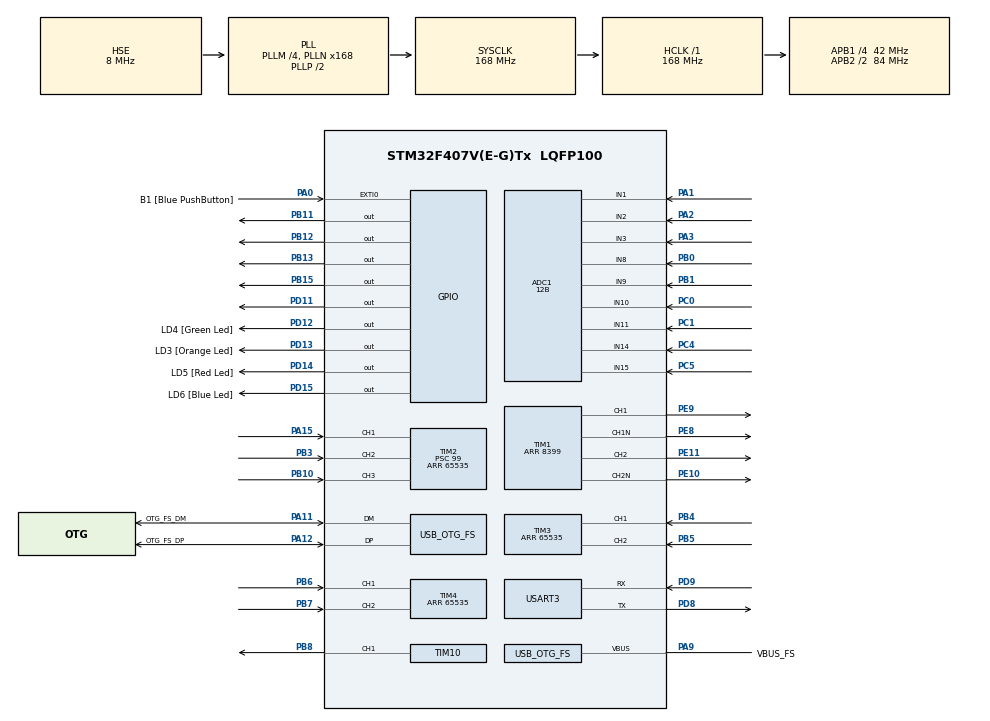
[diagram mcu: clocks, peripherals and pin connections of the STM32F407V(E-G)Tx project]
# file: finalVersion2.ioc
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ADC1.Channel-0\#ChannelRegularConversion=ADC_CHANNEL_1
ADC1.Channel-1\#ChannelRegularConversion=ADC_CHANNEL_2
ADC1.Channel-2\#ChannelRegularConversion=ADC_CHANNEL_3
ADC1.Channel-3\#ChannelRegularConversion=ADC_CHANNEL_15
ADC1.Channel-4\#ChannelRegularConversion=ADC_CHANNEL_10
ADC1.Channel-5\#ChannelRegularConversion=ADC_CHANNEL_14
ADC1.Channel-6\#ChannelRegularConversion=ADC_CHANNEL_8
ADC1.Channel-7\#ChannelRegularConversion=ADC_CHANNEL_9
ADC1.Channel-8\#ChannelRegularConversion=ADC_CHANNEL_11
ADC1.ContinuousConvMode=DISABLE
ADC1.DMAContinuousRequests=ENABLE
ADC1.DiscontinuousConvMode=DISABLE
ADC1.EOCSelection=ADC_EOC_SEQ_CONV
ADC1.InjNumberOfConversion=0
ADC1.NbrOfConversion=9
ADC1.NbrOfConversionFlag=1
ADC1.Rank-0\#ChannelRegularConversion=1
ADC1.Rank-1\#ChannelRegularConversion=2
ADC1.Rank-2\#ChannelRegularConversion=3
ADC1.Rank-3\#ChannelRegularConversion=4
ADC1.Rank-4\#ChannelRegularConversion=5
ADC1.Rank-5\#ChannelRegularConversion=6
ADC1.Rank-6\#ChannelRegularConversion=7
ADC1.Rank-7\#ChannelRegularConversion=8
ADC1.Rank-8\#ChannelRegularConversion=9
ADC1.Resolution=ADC_RESOLUTION_12B
ADC1.SamplingTime-0\#ChannelRegularConversion=ADC_SAMPLETIME_15CYCLES
ADC1.SamplingTime-1\#ChannelRegularConversion=ADC_SAMPLETIME_15CYCLES
ADC1.SamplingTime-2\#ChannelRegularConversion=ADC_SAMPLETIME_15CYCLES
ADC1.SamplingTime-3\#ChannelRegularConversion=ADC_SAMPLETIME_15CYCLES
ADC1.SamplingTime-4\#ChannelRegularConversion=ADC_SAMPLETIME_15CYCLES
ADC1.SamplingTime-5\#ChannelRegularConversion=ADC_SAMPLETIME_15CYCLES
ADC1.SamplingTime-6\#ChannelRegularConversion=ADC_SAMPLETIME_15CYCLES
ADC1.SamplingTime-7\#ChannelRegularConversion=ADC_SAMPLETIME_15CYCLES
ADC1.SamplingTime-8\#ChannelRegularConversion=ADC_SAMPLETIME_15CYCLES
ADC1.ScanConvMode=ENABLE
ADC1.master=1
Dma.ADC1.0.Direction=DMA_PERIPH_TO_MEMORY
Dma.ADC1.0.FIFOMode=DMA_FIFOMODE_DISABLE
Dma.ADC1.0.Instance=DMA2_Stream0
Dma.ADC1.0.MemDataAlignment=DMA_MDATAALIGN_WORD
Dma.ADC1.0.MemInc=DMA_MINC_ENABLE
Dma.ADC1.0.Mode=DMA_CIRCULAR
Dma.ADC1.0.PeriphDataAlignment=DMA_PDATAALIGN_WORD
Dma.ADC1.0.PeriphInc=DMA_PINC_DISABLE
Dma.ADC1.0.Priority=DMA_PRIORITY_LOW
Dma.Request0=ADC1
Mcu.Family=STM32F4
Mcu.Name=STM32F407V(E-G)Tx
Mcu.Package=LQFP100
NVIC.ADC_IRQn=true\:0\:0\:false\:false\:true\:true\:true
NVIC.DMA2_Stream0_IRQn=true\:0\:0\:false\:false\:true\:false\:true
NVIC.EXTI0_IRQn=true\:0\:0\:false\:false\:true\:true\:true
NVIC.OTG_FS_IRQn=true\:0\:0\:false\:false\:true\:false\:true
NVIC.PriorityGroup=NVIC_PRIORITYGROUP_0
NVIC.TIM1_CC_IRQn=true\:0\:0\:false\:false\:true\:true\:true
NVIC.TIM2_IRQn=true\:0\:0\:false\:false\:true\:true\:true
NVIC.TIM7_IRQn=true\:0\:0\:false\:false\:true\:true\:true
NVIC.USART3_IRQn=true\:0\:0\:false\:false\:true\:true\:true
PA0-WKUP.GPIO_Label=B1 [Blue PushButton]
PA0-WKUP.Signal=GPXTI0
PA1.Signal=ADCx_IN1
PA11.GPIO_Label=OTG_FS_DM
PA11.GPIO_Mode=GPIO_MODE_AF_PP
PA11.GPIO_PuPd=GPIO_NOPULL
PA11.GPIO_Speed=GPIO_SPEED_FREQ_VERY_HIGH
PA11.Mode=Device_Only
PA11.Signal=USB_OTG_FS_DM
PA12.GPIO_Label=OTG_FS_DP
PA12.GPIO_Mode=GPIO_MODE_AF_PP
PA12.GPIO_PuPd=GPIO_NOPULL
PA12.GPIO_Speed=GPIO_SPEED_FREQ_VERY_HIGH
PA12.Mode=Device_Only
PA12.Signal=USB_OTG_FS_DP
PA15.Signal=S_TIM2_CH1_ETR
PA2.Signal=ADCx_IN2
PA3.Signal=ADCx_IN3
PA9.GPIO_Label=VBUS_FS
PA9.GPIO_Mode=GPIO_MODE_INPUT
PA9.GPIO_PuPd=GPIO_NOPULL
PA9.Mode=Activate_VBUS
PA9.Signal=USB_OTG_FS_VBUS
PB0.Signal=ADCx_IN8
PB1.Signal=ADCx_IN9
PB10.Signal=S_TIM2_CH3
PB11.Signal=GPIO_Output
PB12.Signal=GPIO_Output
PB13.Signal=GPIO_Output
PB15.Signal=GPIO_Output
PB3.Signal=S_TIM2_CH2
PB4.Signal=S_TIM3_CH1
PB5.Signal=S_TIM3_CH2
PB6.Signal=S_TIM4_CH1
PB7.Signal=S_TIM4_CH2
PB8.GPIO_ModeDefaultPP=GPIO_MODE_AF_PP
PB8.GPIO_PuPd=GPIO_NOPULL
PB8.GPIO_Speed=GPIO_SPEED_FREQ_LOW
PB8.Signal=S_TIM10_CH1
PC0.Signal=ADCx_IN10
PC1.Signal=ADCx_IN11
PC4.Signal=ADCx_IN14
PC5.Signal=ADCx_IN15
PD11.Signal=GPIO_Output
PD12.GPIO_Label=LD4 [Green Led]
PD12.GPIO_PuPd=GPIO_NOPULL
PD12.GPIO_Speed=GPIO_SPEED_FREQ_LOW
PD12.Signal=GPIO_Output
PD13.GPIO_Label=LD3 [Orange Led]
PD13.GPIO_PuPd=GPIO_NOPULL
PD13.GPIO_Speed=GPIO_SPEED_FREQ_LOW
PD13.Signal=GPIO_Output
PD14.GPIO_Label=LD5 [Red Led]
PD14.GPIO_PuPd=GPIO_NOPULL
PD14.GPIO_Speed=GPIO_SPEED_FREQ_LOW
PD14.Signal=GPIO_Output
PD15.GPIO_Label=LD6 [Blue Led]
PD15.GPIO_PuPd=GPIO_NOPULL
PD15.GPIO_Speed=GPIO_SPEED_FREQ_LOW
PD15.Signal=GPIO_Output
PD8.Mode=Asynchronous
PD8.Signal=USART3_TX
PD9.Mode=Asynchronous
PD9.Signal=USART3_RX
PE10.Mode=PWM Generation2 CH2 CH2N
PE10.Signal=TIM1_CH2N
PE11.Signal=S_TIM1_CH2
PE8.Mode=PWM Generation1 CH1 CH1N
PE8.Signal=TIM1_CH1N
PE9.Signal=S_TIM1_CH1
PH0-OSC_IN.GPIO_Label=PH0-OSC_IN
PH0-OSC_IN.Mode=HSE-External-Oscillator
PH0-OSC_IN.Signal=RCC_OSC_IN
PH1-OSC_OUT.GPIO_Label=PH1-OSC_OUT
PH1-OSC_OUT.Mode=HSE-External-Oscillator
PH1-OSC_OUT.Signal=RCC_OSC_OUT
ProjectManager.HeapSize=0x200
ProjectManager.StackSize=0x400
ProjectManager.TargetToolchain=SW4STM32
RCC.48MHZClocksFreq_Value=48000000
RCC.AHBFreq_Value=168000000
RCC.APB1CLKDivider=RCC_HCLK_DIV4
RCC.APB1Freq_Value=42000000
RCC.APB1TimFreq_Value=84000000
RCC.APB2CLKDivider=RCC_HCLK_DIV2
RCC.APB2Freq_Value=84000000
RCC.APB2TimFreq_Value=168000000
RCC.CortexFreq_Value=168000000
RCC.HCLKFreq_Value=168000000
RCC.HSE_VALUE=8000000
RCC.HSI_VALUE=16000000
RCC.LSE_VALUE=32768
RCC.PLLM=4
RCC.PLLN=168
RCC.PLLQ=7
RCC.SYSCLKFreq_VALUE=168000000
RCC.SYSCLKSource=RCC_SYSCLKSOURCE_PLLCLK
RCC.VCOOutputFreq_Value=336000000
SH.ADCx_IN1.0=ADC1_IN1,IN1
SH.ADCx_IN10.0=ADC1_IN10,IN10
SH.ADCx_IN11.0=ADC1_IN11,IN11
SH.ADCx_IN14.0=ADC1_IN14,IN14
SH.ADCx_IN15.0=ADC1_IN15,IN15
SH.ADCx_IN2.0=ADC1_IN2,IN2
SH.ADCx_IN3.0=ADC1_IN3,IN3
SH.ADCx_IN8.0=ADC1_IN8,IN8
SH.ADCx_IN9.0=ADC1_IN9,IN9
SH.S_TIM10_CH1.0=TIM10_CH1,PWM Generation1 CH1
SH.S_TIM1_CH1.0=TIM1_CH1,PWM Generation1 CH1 CH1N
SH.S_TIM1_CH2.0=TIM1_CH2,PWM Generation2 CH2 CH2N
SH.S_TIM2_CH1_ETR.0=TIM2_CH1,Input_Capture1_from_TI1
SH.S_TIM2_CH2.0=TIM2_CH2,Input_Capture2_from_TI2
SH.S_TIM2_CH3.0=TIM2_CH3,Input_Capture3_from_TI3
SH.S_TIM3_CH1.0=TIM3_CH1,Encoder_Interface
SH.S_TIM3_CH2.0=TIM3_CH2,Encoder_Interface
SH.S_TIM4_CH1.0=TIM4_CH1,Encoder_Interface
SH.S_TIM4_CH2.0=TIM4_CH2,Encoder_Interface
TIM1.Channel-PWM\ Generation1\ CH1\ CH1N=TIM_CHANNEL_1
TIM1.Channel-PWM\ Generation2\ CH2\ CH2N=TIM_CHANNEL_2
TIM1.Period=8399
TIM1.Pulse-PWM\ Generation1\ CH1\ CH1N=4199
TIM1.Pulse-PWM\ Generation2\ CH2\ CH2N=4199
TIM1.RepetitionCounter=0
TIM10.Channel=TIM_CHANNEL_1
TIM10.OCPolarity_1=TIM_OCPOLARITY_HIGH
TIM10.Period=65535
TIM10.Prescaler=165
TIM10.Pulse=65525
TIM2.AutoReloadPreload=TIM_AUTORELOAD_PRELOAD_ENABLE
TIM2.Channel-Input_Capture1_from_TI1=TIM_CHANNEL_1
TIM2.Channel-Input_Capture2_from_TI2=TIM_CHANNEL_2
TIM2.Channel-Input_Capture3_from_TI3=TIM_CHANNEL_3
TIM2.ICFilter_CH2=0
TIM2.ICPolarity_CH1=TIM_INPUTCHANNELPOLARITY_BOTHEDGE
TIM2.ICPolarity_CH2=TIM_INPUTCHANNELPOLARITY_BOTHEDGE
TIM2.ICPolarity_CH3=TIM_INPUTCHANNELPOLARITY_BOTHEDGE
TIM2.Period=65535
TIM2.Prescaler=99
TIM2.TIM_MasterSlaveMode=TIM_MASTERSLAVEMODE_DISABLE
TIM3.EncoderMode=TIM_ENCODERMODE_TI12
TIM3.Period=65535
TIM4.EncoderMode=TIM_ENCODERMODE_TI12
TIM4.Period=65535
TIM7.Period=839
TIM7.Prescaler=999
USART3.VirtualMode=VM_ASYNC
USB_DEVICE.CLASS_NAME_FS=CDC
USB_DEVICE.VirtualMode-CDC_FS=Cdc
USB_DEVICE.VirtualModeFS=Cdc_FS
USB_OTG_FS.VirtualMode=Device_Only
VP_TIM10_VS_ClockSourceINT.Mode=Enable_Timer
VP_TIM1_VS_ClockSourceINT.Mode=Internal
VP_TIM2_VS_ClockSourceINT.Mode=Internal
VP_TIM7_VS_ClockSourceINT.Mode=Enable_Timer
VP_USB_DEVICE_VS_USB_DEVICE_CDC_FS.Mode=CDC_FS
board=STM32F407G-DISC1

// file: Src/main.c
/* USER CODE BEGIN Header */
/**
  ******************************************************************************
  * @file           : main.c
  * @brief          : Main program body
  ******************************************************************************
  * @attention
  *
  * <h2><center>&copy; Copyright (c) 2020 STMicroelectronics.
  * All rights reserved.</center></h2>
  *
  * This software component is licensed by ST under Ultimate Liberty license
  * SLA0044, the "License"; You may not use this file except in compliance with
  * the License. You may obtain a copy of the License at:
  *                             www.st.com/SLA0044
  *
  ******************************************************************************
  */
/* USER CODE END Header */

#include "main.h"
#include "usb_device.h"

/* USER CODE BEGIN Includes */
#include "usbd_cdc_if.h"
#include "SystemVariables.h"
#include "Communications/communicationManager.h"
#include "Communications/wifi.h"
#include "LED/led.h"
#include "Control/lineControl.h"
#include "Control/motorControl.h"
#include "Control/speedControl.h"
#include "Odometry/kinematics.h"
/* USER CODE END Includes */

/* USER CODE BEGIN PD */
#define TIMER_2_FREQUENCY		840000
#define SOUND_SPEED				340
#define COUNTS_TO_METERS		((float)SOUND_SPEED/(float)TIMER_2_FREQUENCY)*0.5;
//#define LPF						0.4
//#define MIN_DISTANCE			0.15
//#define MAX_DISTANCE			1.5
/* USER CODE END PD */

ADC_HandleTypeDef hadc1;
DMA_HandleTypeDef hdma_adc1;

TIM_HandleTypeDef htim1;
TIM_HandleTypeDef htim2;
TIM_HandleTypeDef htim3;
TIM_HandleTypeDef htim4;
TIM_HandleTypeDef htim7;
TIM_HandleTypeDef htim10;

UART_HandleTypeDef huart3;

/* USER CODE BEGIN PV */

extern _Bool start;
_Bool sendDataUSB = 0;
uint16_t timePreescale = 0;		//every increment in the ADC_Callback are 50uS
///////////////////////////////////////
//		CONTROL VARIABLES			//
/////////////////////////////////////
extern volatile float wRight;
extern volatile float wLeft;

float uR = 0.0;
float uL = 0.0;
extern float referenceLinearVelocity;
extern float referenceAngularVelocity;
extern volatile uint32_t uhADCxConvertedValue[9];

///////////////////////////////////////
//		COMMUNICATION VARIABLES		//
/////////////////////////////////////
extern Queue bufferInputUART;
uint8_t Rxvalue;

///////////////////////////////////////
//		ULTRASOUND VARIABLES		//
/////////////////////////////////////
uint8_t IsRisingEdge = 1;
uint32_t ICRisingValue = 0;
uint32_t ICFallingValue = 0;
uint32_t Difference = 0;
volatile float distanceBetweenVehicles = 0;

///////////////////////////////////////
//		BATTERY VARIABLES			//
/////////////////////////////////////
extern float batteryV;
const float BATTERY_K = 0.00292;		//Constant used to get battery voltage in V from ADC value
const float BATTERY_THRESHOLD = 9.5;	//Lower than this value the driver should be disabled

/* USER CODE END PV */

void SystemClock_Config(void);
static void MX_GPIO_Init(void);
static void MX_DMA_Init(void);
static void MX_ADC1_Init(void);
static void MX_TIM1_Init(void);
static void MX_TIM2_Init(void);
static void MX_TIM3_Init(void);
static void MX_TIM4_Init(void);
static void MX_TIM7_Init(void);
static void MX_TIM10_Init(void);
static void MX_USART3_UART_Init(void);

int main(void)
{

  /* MCU Configuration--------------------------------------------------------*/

  /* Reset of all peripherals, Initializes the Flash interface and the Systick. */
  HAL_Init();

  /* Configure the system clock */
  SystemClock_Config();

  /* USER CODE BEGIN SysInit */
  BSP_LED_Init(LED3);
  BSP_LED_Init(LED4);
  BSP_LED_Init(LED5);
  BSP_LED_Init(LED6);
  /* USER CODE END SysInit */

  /* Initialize all configured peripherals */
  MX_GPIO_Init();
  MX_DMA_Init();
  MX_ADC1_Init();
  MX_TIM1_Init();
  MX_TIM2_Init();
  MX_TIM3_Init();
  MX_TIM4_Init();
  MX_TIM7_Init();
  MX_TIM10_Init();
  MX_USART3_UART_Init();
  MX_USB_DEVICE_Init();
  /* USER CODE BEGIN 2 */

  //DBGMCU->APB1FZ |= DBGMCU_APB1_FZ_DBG_TIM2_STOP;	//Stop timer2 to Debug

  HAL_TIM_PWM_Start_IT(&htim1,TIM_CHANNEL_1);			//Start PWM generation Channel 1
  HAL_TIMEx_PWMN_Start(&htim1,TIM_CHANNEL_1);		//Start negated PWM generation Channel 1
  HAL_TIM_PWM_Start(&htim1,TIM_CHANNEL_2);			//Start PWM generation Channel 2
  HAL_TIMEx_PWMN_Start(&htim1,TIM_CHANNEL_2);		//Start negated PWM generation Channel 2

  HAL_TIM_Base_Start_IT(&htim7);					//Enables Timer Interrupt
  HAL_TIM_Encoder_Start(&htim3, TIM_CHANNEL_ALL);	//Start Encoder Mode Channel 1 & 2
  HAL_TIM_Encoder_Start(&htim4, TIM_CHANNEL_ALL);	//Start Encoder Mode Channel 1 & 2

  HAL_TIM_PWM_Start(&htim10,TIM_CHANNEL_1);			//Start PWM generation Channel 1

  HAL_TIM_IC_Start_IT(&htim2, TIM_CHANNEL_1);			//Start Input Capture Mode Channel 1
//  HAL_TIM_IC_Start_IT(&htim2, TIM_CHANNEL_2);			//Start Input Capture Mode Channel 2 middle US sensor
//  HAL_TIM_IC_Start_IT(&htim2, TIM_CHANNEL_3);			//Start Input Capture Mode Channel 3

  BSP_LED_On(LED3);
  TIM1->CCR1=(uint32_t) 8399*0.5;
  TIM1->CCR2=(uint32_t) 8399*0.5;
  HAL_UART_Receive_IT(&huart3, &Rxvalue, 1);
//  configureWifi(&huart3);
//  connect(&huart3);
  start=0;
//  HAL_GPIO_WritePin(GPIOB,GPIO_PIN_13,GPIO_PIN_RESET);
  /* USER CODE END 2 */

  /* Infinite loop */
  /* USER CODE BEGIN WHILE */
  while (1)
  {
//	  if(sendDataUSB && start){
//		  HAL_Delay(1);
//		  CDC_Transmit_FS(&wRight,4);
//		  HAL_Delay(1);
//		  sendDataUSB = 0;
//	  }

//	  manageCommunications(&huart3, &bufferInputUART);
	  HAL_GPIO_TogglePin(GPIOB,GPIO_PIN_12);
	  if (batteryV < BATTERY_THRESHOLD)
	  {
		  BSP_LED_On(LED3);
		  HAL_GPIO_WritePin(GPIOD,GPIO_PIN_11,GPIO_PIN_RESET);
	  }
	  else
	  {
		  BSP_LED_Off(LED3);
		  HAL_GPIO_WritePin(GPIOD,GPIO_PIN_11,(start==1));
	  }
    /* USER CODE END WHILE */

  }
}

void SystemClock_Config(void)
{
  RCC_OscInitTypeDef RCC_OscInitStruct = {0};
  RCC_ClkInitTypeDef RCC_ClkInitStruct = {0};

  /** Configure the main internal regulator output voltage
  */
  __HAL_RCC_PWR_CLK_ENABLE();
  __HAL_PWR_VOLTAGESCALING_CONFIG(PWR_REGULATOR_VOLTAGE_SCALE1);
  /** Initializes the CPU, AHB and APB busses clocks
  */
  RCC_OscInitStruct.OscillatorType = RCC_OSCILLATORTYPE_HSE;
  RCC_OscInitStruct.HSEState = RCC_HSE_ON;
  RCC_OscInitStruct.PLL.PLLState = RCC_PLL_ON;
  RCC_OscInitStruct.PLL.PLLSource = RCC_PLLSOURCE_HSE;
  RCC_OscInitStruct.PLL.PLLM = 4;
  RCC_OscInitStruct.PLL.PLLN = 168;
  RCC_OscInitStruct.PLL.PLLP = RCC_PLLP_DIV2;
  RCC_OscInitStruct.PLL.PLLQ = 7;
  if (HAL_RCC_OscConfig(&RCC_OscInitStruct) != HAL_OK)
  {
    Error_Handler();
  }
  /** Initializes the CPU, AHB and APB busses clocks
  */
  RCC_ClkInitStruct.ClockType = RCC_CLOCKTYPE_HCLK|RCC_CLOCKTYPE_SYSCLK
                              |RCC_CLOCKTYPE_PCLK1|RCC_CLOCKTYPE_PCLK2;
  RCC_ClkInitStruct.SYSCLKSource = RCC_SYSCLKSOURCE_PLLCLK;
  RCC_ClkInitStruct.AHBCLKDivider = RCC_SYSCLK_DIV1;
  RCC_ClkInitStruct.APB1CLKDivider = RCC_HCLK_DIV4;
  RCC_ClkInitStruct.APB2CLKDivider = RCC_HCLK_DIV2;

  if (HAL_RCC_ClockConfig(&RCC_ClkInitStruct, FLASH_LATENCY_5) != HAL_OK)
  {
    Error_Handler();
  }
}

static void MX_ADC1_Init(void)
{

  ADC_ChannelConfTypeDef sConfig = {0};

  /** Configure the global features of the ADC (Clock, Resolution, Data Alignment and number of conversion)
  */
  hadc1.Instance = ADC1;
  hadc1.Init.ClockPrescaler = ADC_CLOCK_SYNC_PCLK_DIV4;
  hadc1.Init.Resolution = ADC_RESOLUTION_12B;
  hadc1.Init.ScanConvMode = ENABLE;
  hadc1.Init.ContinuousConvMode = DISABLE;
  hadc1.Init.DiscontinuousConvMode = DISABLE;
  hadc1.Init.ExternalTrigConvEdge = ADC_EXTERNALTRIGCONVEDGE_NONE;
  hadc1.Init.ExternalTrigConv = ADC_SOFTWARE_START;
  hadc1.Init.DataAlign = ADC_DATAALIGN_RIGHT;
  hadc1.Init.NbrOfConversion = 9;
  hadc1.Init.DMAContinuousRequests = ENABLE;
  hadc1.Init.EOCSelection = ADC_EOC_SEQ_CONV;
  if (HAL_ADC_Init(&hadc1) != HAL_OK)
  {
    Error_Handler();
  }
  /** Configure for the selected ADC regular channel its corresponding rank in the sequencer and its sample time.
  */
  sConfig.Channel = ADC_CHANNEL_1;
  sConfig.Rank = 1;
  sConfig.SamplingTime = ADC_SAMPLETIME_15CYCLES;
  if (HAL_ADC_ConfigChannel(&hadc1, &sConfig) != HAL_OK)
  {
    Error_Handler();
  }
  /** Configure for the selected ADC regular channel its corresponding rank in the sequencer and its sample time.
  */
  sConfig.Channel = ADC_CHANNEL_2;
  sConfig.Rank = 2;
  if (HAL_ADC_ConfigChannel(&hadc1, &sConfig) != HAL_OK)
  {
    Error_Handler();
  }
  /** Configure for the selected ADC regular channel its corresponding rank in the sequencer and its sample time.
  */
  sConfig.Channel = ADC_CHANNEL_3;
  sConfig.Rank = 3;
  if (HAL_ADC_ConfigChannel(&hadc1, &sConfig) != HAL_OK)
  {
    Error_Handler();
  }
  /** Configure for the selected ADC regular channel its corresponding rank in the sequencer and its sample time.
  */
  sConfig.Channel = ADC_CHANNEL_15;
  sConfig.Rank = 4;
  if (HAL_ADC_ConfigChannel(&hadc1, &sConfig) != HAL_OK)
  {
    Error_Handler();
  }
  /** Configure for the selected ADC regular channel its corresponding rank in the sequencer and its sample time.
  */
  sConfig.Channel = ADC_CHANNEL_10;
  sConfig.Rank = 5;
  if (HAL_ADC_ConfigChannel(&hadc1, &sConfig) != HAL_OK)
  {
    Error_Handler();
  }
  /** Configure for the selected ADC regular channel its corresponding rank in the sequencer and its sample time.
  */
  sConfig.Channel = ADC_CHANNEL_14;
  sConfig.Rank = 6;
  if (HAL_ADC_ConfigChannel(&hadc1, &sConfig) != HAL_OK)
  {
    Error_Handler();
  }
  /** Configure for the selected ADC regular channel its corresponding rank in the sequencer and its sample time.
  */
  sConfig.Channel = ADC_CHANNEL_8;
  sConfig.Rank = 7;
  if (HAL_ADC_ConfigChannel(&hadc1, &sConfig) != HAL_OK)
  {
    Error_Handler();
  }
  /** Configure for the selected ADC regular channel its corresponding rank in the sequencer and its sample time.
  */
  sConfig.Channel = ADC_CHANNEL_9;
  sConfig.Rank = 8;
  if (HAL_ADC_ConfigChannel(&hadc1, &sConfig) != HAL_OK)
  {
    Error_Handler();
  }
  /** Configure for the selected ADC regular channel its corresponding rank in the sequencer and its sample time.
  */
  sConfig.Channel = ADC_CHANNEL_11;
  sConfig.Rank = 9;
  if (HAL_ADC_ConfigChannel(&hadc1, &sConfig) != HAL_OK)
  {
    Error_Handler();
  }

}

static void MX_TIM1_Init(void)
{

  TIM_ClockConfigTypeDef sClockSourceConfig = {0};
  TIM_MasterConfigTypeDef sMasterConfig = {0};
  TIM_OC_InitTypeDef sConfigOC = {0};
  TIM_BreakDeadTimeConfigTypeDef sBreakDeadTimeConfig = {0};

  htim1.Instance = TIM1;
  htim1.Init.Prescaler = 0;
  htim1.Init.CounterMode = TIM_COUNTERMODE_UP;
  htim1.Init.Period = 8399;
  htim1.Init.ClockDivision = TIM_CLOCKDIVISION_DIV1;
  htim1.Init.RepetitionCounter = 0;
  htim1.Init.AutoReloadPreload = TIM_AUTORELOAD_PRELOAD_DISABLE;
  if (HAL_TIM_Base_Init(&htim1) != HAL_OK)
  {
    Error_Handler();
  }
  sClockSourceConfig.ClockSource = TIM_CLOCKSOURCE_INTERNAL;
  if (HAL_TIM_ConfigClockSource(&htim1, &sClockSourceConfig) != HAL_OK)
  {
    Error_Handler();
  }
  if (HAL_TIM_PWM_Init(&htim1) != HAL_OK)
  {
    Error_Handler();
  }
  sMasterConfig.MasterOutputTrigger = TIM_TRGO_RESET;
  sMasterConfig.MasterSlaveMode = TIM_MASTERSLAVEMODE_DISABLE;
  if (HAL_TIMEx_MasterConfigSynchronization(&htim1, &sMasterConfig) != HAL_OK)
  {
    Error_Handler();
  }
  sConfigOC.OCMode = TIM_OCMODE_PWM1;
  sConfigOC.Pulse = 4199;
  sConfigOC.OCPolarity = TIM_OCPOLARITY_HIGH;
  sConfigOC.OCNPolarity = TIM_OCNPOLARITY_HIGH;
  sConfigOC.OCFastMode = TIM_OCFAST_DISABLE;
  sConfigOC.OCIdleState = TIM_OCIDLESTATE_RESET;
  sConfigOC.OCNIdleState = TIM_OCNIDLESTATE_RESET;
  if (HAL_TIM_PWM_ConfigChannel(&htim1, &sConfigOC, TIM_CHANNEL_1) != HAL_OK)
  {
    Error_Handler();
  }
  if (HAL_TIM_PWM_ConfigChannel(&htim1, &sConfigOC, TIM_CHANNEL_2) != HAL_OK)
  {
    Error_Handler();
  }
  sBreakDeadTimeConfig.OffStateRunMode = TIM_OSSR_DISABLE;
  sBreakDeadTimeConfig.OffStateIDLEMode = TIM_OSSI_DISABLE;
  sBreakDeadTimeConfig.LockLevel = TIM_LOCKLEVEL_OFF;
  sBreakDeadTimeConfig.DeadTime = 0;
  sBreakDeadTimeConfig.BreakState = TIM_BREAK_DISABLE;
  sBreakDeadTimeConfig.BreakPolarity = TIM_BREAKPOLARITY_HIGH;
  sBreakDeadTimeConfig.AutomaticOutput = TIM_AUTOMATICOUTPUT_DISABLE;
  if (HAL_TIMEx_ConfigBreakDeadTime(&htim1, &sBreakDeadTimeConfig) != HAL_OK)
  {
    Error_Handler();
  }
  HAL_TIM_MspPostInit(&htim1);

}

static void MX_TIM2_Init(void)
{

  TIM_ClockConfigTypeDef sClockSourceConfig = {0};
  TIM_MasterConfigTypeDef sMasterConfig = {0};
  TIM_IC_InitTypeDef sConfigIC = {0};

  htim2.Instance = TIM2;
  htim2.Init.Prescaler = 99;
  htim2.Init.CounterMode = TIM_COUNTERMODE_UP;
  htim2.Init.Period = 65535;
  htim2.Init.ClockDivision = TIM_CLOCKDIVISION_DIV1;
  htim2.Init.AutoReloadPreload = TIM_AUTORELOAD_PRELOAD_ENABLE;
  if (HAL_TIM_Base_Init(&htim2) != HAL_OK)
  {
    Error_Handler();
  }
  sClockSourceConfig.ClockSource = TIM_CLOCKSOURCE_INTERNAL;
  if (HAL_TIM_ConfigClockSource(&htim2, &sClockSourceConfig) != HAL_OK)
  {
    Error_Handler();
  }
  if (HAL_TIM_IC_Init(&htim2) != HAL_OK)
  {
    Error_Handler();
  }
  sMasterConfig.MasterOutputTrigger = TIM_TRGO_RESET;
  sMasterConfig.MasterSlaveMode = TIM_MASTERSLAVEMODE_DISABLE;
  if (HAL_TIMEx_MasterConfigSynchronization(&htim2, &sMasterConfig) != HAL_OK)
  {
    Error_Handler();
  }
  sConfigIC.ICPolarity = TIM_INPUTCHANNELPOLARITY_BOTHEDGE;
  sConfigIC.ICSelection = TIM_ICSELECTION_DIRECTTI;
  sConfigIC.ICPrescaler = TIM_ICPSC_DIV1;
  sConfigIC.ICFilter = 0;
  if (HAL_TIM_IC_ConfigChannel(&htim2, &sConfigIC, TIM_CHANNEL_1) != HAL_OK)
  {
    Error_Handler();
  }
  if (HAL_TIM_IC_ConfigChannel(&htim2, &sConfigIC, TIM_CHANNEL_2) != HAL_OK)
  {
    Error_Handler();
  }
  if (HAL_TIM_IC_ConfigChannel(&htim2, &sConfigIC, TIM_CHANNEL_3) != HAL_OK)
  {
    Error_Handler();
  }

}

static void MX_TIM3_Init(void)
{

  TIM_Encoder_InitTypeDef sConfig = {0};
  TIM_MasterConfigTypeDef sMasterConfig = {0};

  htim3.Instance = TIM3;
  htim3.Init.Prescaler = 0;
  htim3.Init.CounterMode = TIM_COUNTERMODE_UP;
  htim3.Init.Period = 65535;
  htim3.Init.ClockDivision = TIM_CLOCKDIVISION_DIV1;
  htim3.Init.AutoReloadPreload = TIM_AUTORELOAD_PRELOAD_DISABLE;
  sConfig.EncoderMode = TIM_ENCODERMODE_TI12;
  sConfig.IC1Polarity = TIM_ICPOLARITY_RISING;
  sConfig.IC1Selection = TIM_ICSELECTION_DIRECTTI;
  sConfig.IC1Prescaler = TIM_ICPSC_DIV1;
  sConfig.IC1Filter = 0;
  sConfig.IC2Polarity = TIM_ICPOLARITY_RISING;
  sConfig.IC2Selection = TIM_ICSELECTION_DIRECTTI;
  sConfig.IC2Prescaler = TIM_ICPSC_DIV1;
  sConfig.IC2Filter = 0;
  if (HAL_TIM_Encoder_Init(&htim3, &sConfig) != HAL_OK)
  {
    Error_Handler();
  }
  sMasterConfig.MasterOutputTrigger = TIM_TRGO_RESET;
  sMasterConfig.MasterSlaveMode = TIM_MASTERSLAVEMODE_DISABLE;
  if (HAL_TIMEx_MasterConfigSynchronization(&htim3, &sMasterConfig) != HAL_OK)
  {
    Error_Handler();
  }

}

static void MX_TIM4_Init(void)
{

  TIM_Encoder_InitTypeDef sConfig = {0};
  TIM_MasterConfigTypeDef sMasterConfig = {0};

  htim4.Instance = TIM4;
  htim4.Init.Prescaler = 0;
  htim4.Init.CounterMode = TIM_COUNTERMODE_UP;
  htim4.Init.Period = 65535;
  htim4.Init.ClockDivision = TIM_CLOCKDIVISION_DIV1;
  htim4.Init.AutoReloadPreload = TIM_AUTORELOAD_PRELOAD_DISABLE;
  sConfig.EncoderMode = TIM_ENCODERMODE_TI12;
  sConfig.IC1Polarity = TIM_ICPOLARITY_RISING;
  sConfig.IC1Selection = TIM_ICSELECTION_DIRECTTI;
  sConfig.IC1Prescaler = TIM_ICPSC_DIV1;
  sConfig.IC1Filter = 0;
  sConfig.IC2Polarity = TIM_ICPOLARITY_RISING;
  sConfig.IC2Selection = TIM_ICSELECTION_DIRECTTI;
  sConfig.IC2Prescaler = TIM_ICPSC_DIV1;
  sConfig.IC2Filter = 0;
  if (HAL_TIM_Encoder_Init(&htim4, &sConfig) != HAL_OK)
  {
    Error_Handler();
  }
  sMasterConfig.MasterOutputTrigger = TIM_TRGO_RESET;
  sMasterConfig.MasterSlaveMode = TIM_MASTERSLAVEMODE_DISABLE;
  if (HAL_TIMEx_MasterConfigSynchronization(&htim4, &sMasterConfig) != HAL_OK)
  {
    Error_Handler();
  }

}

static void MX_TIM7_Init(void)
{

  TIM_MasterConfigTypeDef sMasterConfig = {0};

  htim7.Instance = TIM7;
  htim7.Init.Prescaler = 999;
  htim7.Init.CounterMode = TIM_COUNTERMODE_UP;
  htim7.Init.Period = 839;
  htim7.Init.AutoReloadPreload = TIM_AUTORELOAD_PRELOAD_DISABLE;
  if (HAL_TIM_Base_Init(&htim7) != HAL_OK)
  {
    Error_Handler();
  }
  sMasterConfig.MasterOutputTrigger = TIM_TRGO_RESET;
  sMasterConfig.MasterSlaveMode = TIM_MASTERSLAVEMODE_DISABLE;
  if (HAL_TIMEx_MasterConfigSynchronization(&htim7, &sMasterConfig) != HAL_OK)
  {
    Error_Handler();
  }

}

static void MX_TIM10_Init(void)
{

  TIM_OC_InitTypeDef sConfigOC = {0};

  htim10.Instance = TIM10;
  htim10.Init.Prescaler = 165;
  htim10.Init.CounterMode = TIM_COUNTERMODE_UP;
  htim10.Init.Period = 65535;
  htim10.Init.ClockDivision = TIM_CLOCKDIVISION_DIV1;
  htim10.Init.AutoReloadPreload = TIM_AUTORELOAD_PRELOAD_DISABLE;
  if (HAL_TIM_Base_Init(&htim10) != HAL_OK)
  {
    Error_Handler();
  }
  if (HAL_TIM_PWM_Init(&htim10) != HAL_OK)
  {
    Error_Handler();
  }
  sConfigOC.OCMode = TIM_OCMODE_PWM1;
  sConfigOC.Pulse = 65525;
  sConfigOC.OCPolarity = TIM_OCPOLARITY_HIGH;
  sConfigOC.OCFastMode = TIM_OCFAST_DISABLE;
  if (HAL_TIM_PWM_ConfigChannel(&htim10, &sConfigOC, TIM_CHANNEL_1) != HAL_OK)
  {
    Error_Handler();
  }
  HAL_TIM_MspPostInit(&htim10);

}

static void MX_USART3_UART_Init(void)
{

  huart3.Instance = USART3;
  huart3.Init.BaudRate = 115200;
  huart3.Init.WordLength = UART_WORDLENGTH_8B;
  huart3.Init.StopBits = UART_STOPBITS_1;
  huart3.Init.Parity = UART_PARITY_NONE;
  huart3.Init.Mode = UART_MODE_TX_RX;
  huart3.Init.HwFlowCtl = UART_HWCONTROL_NONE;
  huart3.Init.OverSampling = UART_OVERSAMPLING_16;
  if (HAL_UART_Init(&huart3) != HAL_OK)
  {
    Error_Handler();
  }

}

static void MX_DMA_Init(void)
{

  /* DMA controller clock enable */
  __HAL_RCC_DMA2_CLK_ENABLE();

  /* DMA interrupt init */
  /* DMA2_Stream0_IRQn interrupt configuration */
  HAL_NVIC_SetPriority(DMA2_Stream0_IRQn, 0, 0);
  HAL_NVIC_EnableIRQ(DMA2_Stream0_IRQn);

}

static void MX_GPIO_Init(void)
{
  GPIO_InitTypeDef GPIO_InitStruct = {0};

  /* GPIO Ports Clock Enable */
  __HAL_RCC_GPIOH_CLK_ENABLE();
  __HAL_RCC_GPIOC_CLK_ENABLE();
  __HAL_RCC_GPIOA_CLK_ENABLE();
  __HAL_RCC_GPIOB_CLK_ENABLE();
  __HAL_RCC_GPIOE_CLK_ENABLE();
  __HAL_RCC_GPIOD_CLK_ENABLE();

  /*Configure GPIO pin Output Level */
  HAL_GPIO_WritePin(GPIOB, GPIO_PIN_11|GPIO_PIN_12|GPIO_PIN_13|GPIO_PIN_15, GPIO_PIN_RESET);

  /*Configure GPIO pin Output Level */
  HAL_GPIO_WritePin(GPIOD, GPIO_PIN_11|LD4_Pin|LD3_Pin|LD5_Pin
                          |LD6_Pin, GPIO_PIN_RESET);

  /*Configure GPIO pin : B1_Pin */
  GPIO_InitStruct.Pin = B1_Pin;
  GPIO_InitStruct.Mode = GPIO_MODE_IT_RISING;
  GPIO_InitStruct.Pull = GPIO_NOPULL;
  HAL_GPIO_Init(B1_GPIO_Port, &GPIO_InitStruct);

  /*Configure GPIO pins : PB11 PB12 PB13 PB15 */
  GPIO_InitStruct.Pin = GPIO_PIN_11|GPIO_PIN_12|GPIO_PIN_13|GPIO_PIN_15;
  GPIO_InitStruct.Mode = GPIO_MODE_OUTPUT_PP;
  GPIO_InitStruct.Pull = GPIO_NOPULL;
  GPIO_InitStruct.Speed = GPIO_SPEED_FREQ_LOW;
  HAL_GPIO_Init(GPIOB, &GPIO_InitStruct);

  /*Configure GPIO pins : PD11 LD4_Pin LD3_Pin LD5_Pin
                           LD6_Pin */
  GPIO_InitStruct.Pin = GPIO_PIN_11|LD4_Pin|LD3_Pin|LD5_Pin
                          |LD6_Pin;
  GPIO_InitStruct.Mode = GPIO_MODE_OUTPUT_PP;
  GPIO_InitStruct.Pull = GPIO_NOPULL;
  GPIO_InitStruct.Speed = GPIO_SPEED_FREQ_LOW;
  HAL_GPIO_Init(GPIOD, &GPIO_InitStruct);

  /* EXTI interrupt init*/
  HAL_NVIC_SetPriority(EXTI0_IRQn, 0, 0);
  HAL_NVIC_EnableIRQ(EXTI0_IRQn);

}

/* USER CODE BEGIN 4 */
float u1;
float u2;
float sigma1;
float sigma2;
float d_measured;
float d_diff;
float theta;

void HAL_ADC_ConvCpltCallback(ADC_HandleTypeDef* hadc)
{
	timePreescale++;
	if(timePreescale ==20){
		timePreescale = 0;
		batteryV = (float) (uhADCxConvertedValue[8]*BATTERY_K); 	//battery voltage

		d_measured = distanceToLine(uhADCxConvertedValue);

		vehicleVelocity = ForwardKinematics(&wLeft, &wRight);

//		algorithm = 1;
//
//		float sigma = sigmaCalculation(&vehicleVelocity.linearVelocity, &distanceBetweenVehicles);
//		referenceLinearVelocity = controlLinearSpeed(&sigma);
//		referenceAngularVelocity = -0.1*d_measured; //controlAngularSpeed(&d_measured);
//
//		wheelVelocity = InverseKinematics(&referenceLinearVelocity, &referenceAngularVelocity);
//
//		float errorRightMotor = calculateError(&wheelVelocity.wRight, &wRight);
//		float errorLeftMotor = calculateError(&wheelVelocity.wLeft, &wLeft);
//
//		controlRightMotor(&errorRightMotor, &wheelVelocity.wRight, &uR);
//		controlLeftMotor(&errorLeftMotor, &wheelVelocity.wLeft, &uL);
//
//		uR = slidingModeControlRight(&errorRightMotor);
//		uL = slidingModeControlLeft(&errorLeftMotor);7

		d_diff = calculateD_diff(&d_measured);
//		theta = calculateTheta(&vehicleVelocity.angularVelocity, &d_measured, &d_diff, &vehicleVelocity.linearVelocity);

		sigma1 = 100*d_measured + d_diff;
		sigma2 = vehicleVelocity.linearVelocity - sigmaCalculation(&vehicleVelocity.linearVelocity, &distanceBetweenVehicles);

		u1 = calculateU1(&sigma1, &sigma2, &vehicleVelocity.linearVelocity, &vehicleVelocity.angularVelocity, &d_measured, &d_diff, &theta);
		u2 = calculateU2(&sigma1, &vehicleVelocity.linearVelocity, &vehicleVelocity.angularVelocity, &d_measured, &d_diff, &theta);

		uR = (u1 + u2)*0.5;
		uL = (u1 - u2)*0.5;

		if(distanceBetweenVehicles < 0.15)	//EMERGENCY STOP
		{
			uL = 0;
			uR = 0;
			BSP_LED_On(LED6);
		}
		else BSP_LED_Off(LED6);

		float  volt2duty=0.5/batteryV;										//duty depends on measured battery voltage
		float  dutyRref=volt2duty*uR+0.5;
		float  dutyLref=volt2duty*uL+0.5;

		TIM1->CCR1=(uint32_t) 8400*dutyRref;	// CCR 5007 limit 0.5961 duty cycle
		TIM1->CCR2=(uint32_t) 8400*dutyLref;
	}
}

void HAL_TIM_IC_CaptureCallback(TIM_HandleTypeDef *htim){
	if(htim->Channel == HAL_TIM_ACTIVE_CHANNEL_1){
		if(IsRisingEdge == 1){
			ICRisingValue = HAL_TIM_ReadCapturedValue(htim, TIM_CHANNEL_1);
			IsRisingEdge = 0;
		}
		else if(IsRisingEdge == 0){
			ICFallingValue = HAL_TIM_ReadCapturedValue(htim, TIM_CHANNEL_1);
			if(ICFallingValue > ICRisingValue){
				Difference = ICFallingValue - ICRisingValue;
			}
			else if(ICFallingValue < ICRisingValue){
				Difference = (0xFFFF-ICRisingValue)+ICFallingValue+1;
			}
			else{
				Error_Handler();
			}
			distanceBetweenVehicles = (float)Difference*COUNTS_TO_METERS;
			IsRisingEdge = 1;
		}
	}
}

void HAL_UART_RxCpltCallback(UART_HandleTypeDef *UartHandle)
{
	HAL_UART_Receive_IT(&huart3, &Rxvalue, 1);
	enQueue(&bufferInputUART, Rxvalue);
}
/* USER CODE END 4 */

void Error_Handler(void)
{
  /* USER CODE BEGIN Error_Handler_Debug */
  /* User can add his own implementation to report the HAL error return state */
	BSP_LED_On(LED5);
  /* USER CODE END Error_Handler_Debug */
}

/************************ (C) COPYRIGHT STMicroelectronics *****END OF FILE****/
